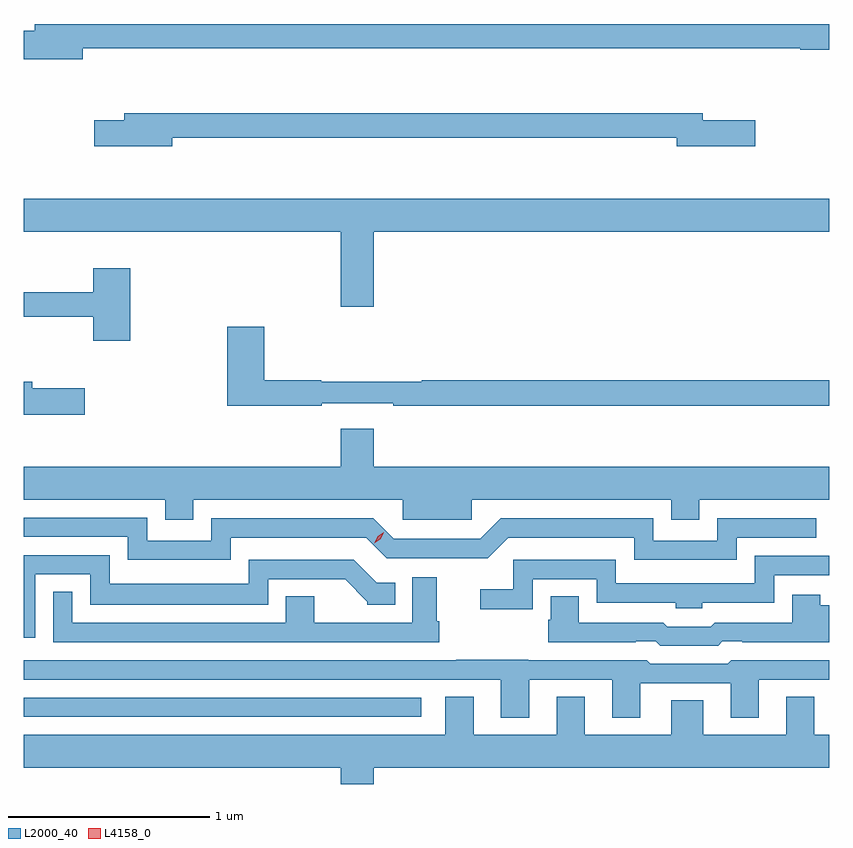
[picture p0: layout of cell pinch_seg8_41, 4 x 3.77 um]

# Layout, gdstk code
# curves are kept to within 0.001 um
import gdstk
lib = gdstk.Library(unit=1e-6, precision=1e-09)
def R(c, l, rs):  # rectangles x0, y0, x1, y1
    for r in rs: c.add(gdstk.rectangle(r[:2], r[2:], *l))
def P(c, l, *ps):  # polygons
    for p in ps: c.add(gdstk.Polygon(p, *l))
L2000_40 = (2000, 40)
L4158_0 = (4158, 0)

pinch_seg8_41 = lib.new_cell('pinch_seg8_41')
R(pinch_seg8_41, L2000_40, [(966.629,1135.401,968.602,1135.497)])
P(pinch_seg8_41, L2000_40, [(966.922,1138.722),(970.486,1138.722),(970.486,1138.714),(970.629,1138.714),(970.629,1138.843),(966.683,1138.843),(966.683,1138.809),(966.629,1138.809),(966.629,1138.667),(966.922,1138.667)],
  [(967.366,1138.278),(969.872,1138.278),(969.872,1138.235),(970.261,1138.235),(970.261,1138.365),(970,1138.365),(970,1138.399),(967.127,1138.399),(967.127,1138.365),(966.978,1138.365),(966.978,1138.235),(967.366,1138.235)],
  [(968.368,1137.812),(970.629,1137.812),(970.629,1137.976),(966.629,1137.976),(966.629,1137.812),(968.204,1137.812),(968.204,1137.438),(968.368,1137.438)],
  [(967.157,1137.631),(966.974,1137.631),(966.974,1137.511),(966.629,1137.511),(966.629,1137.39),(966.974,1137.39),(966.974,1137.27),(967.157,1137.27)],
  [(968.108,1136.958),(968.464,1136.958),(968.464,1136.946),(970.629,1136.946),(970.629,1137.074),(968.606,1137.074),(968.606,1137.067),(968.106,1137.067),(968.106,1137.074),(967.823,1137.074),(967.823,1137.34),(967.64,1137.34),(967.64,1136.946),(968.108,1136.946)],
  [(966.931,1137.033),(966.67,1137.033),(966.67,1137.067),(966.629,1137.067),(966.629,1136.903),(966.931,1136.903)],
  [(967.471,1136.48),(968.511,1136.48),(968.511,1136.381),(968.854,1136.381),(968.854,1136.48),(969.845,1136.48),(969.845,1136.381),(969.985,1136.381),(969.985,1136.48),(970.629,1136.48),(970.629,1136.644),(968.368,1136.644),(968.368,1136.833),(968.204,1136.833),(968.204,1136.644),(966.629,1136.644),(966.629,1136.48),(967.331,1136.48),(967.331,1136.381),(967.471,1136.381)],
  [(967.656,1136.292),(968.33,1136.292),(968.432,1136.19),(968.837,1136.189),(968.933,1136.189),(969.036,1136.292),(969.66,1136.292),(969.66,1136.181),(970.17,1136.181),(970.17,1136.292),(970.564,1136.292),(970.564,1136.388),(970.074,1136.388),(970.074,1136.277),(969.756,1136.277),(969.756,1136.388),(968.997,1136.388),(968.895,1136.286),(968.466,1136.286),(968.364,1136.388),(967.56,1136.388),(967.56,1136.277),(967.242,1136.277),(967.242,1136.391),(966.629,1136.391),(966.629,1136.295),(967.146,1136.295),(967.146,1136.181),(967.656,1136.181)],
  [(966.685,1136.109),(966.96,1136.109),(966.96,1135.958),(967.842,1135.958),(967.842,1136.085),(968.225,1136.084),(968.334,1135.974),(968.334,1135.958),(968.473,1135.958),(968.473,1136.067),(968.382,1136.067),(968.268,1136.181),(967.746,1136.181),(967.746,1136.062),(967.056,1136.062),(967.056,1136.205),(966.629,1136.205),(966.629,1135.794),(966.685,1135.794)],
  [(969.156,1136.085),(969.474,1136.085),(969.474,1135.968),(969.867,1135.968),(969.867,1135.941),(969.999,1135.941),(969.999,1135.968),(970.356,1135.968),(970.356,1136.106),(970.622,1136.106),(970.622,1136.105),(970.629,1136.105),(970.629,1136.202),(970.26,1136.202),(970.26,1136.064),(969.57,1136.064),(969.57,1136.181),(969.06,1136.181),(969.06,1136.035),(968.895,1136.035),(968.895,1135.936),(969.156,1135.936)],
  [(968.693,1135.876),(968.68,1135.876),(968.68,1136.095),(968.558,1136.095),(968.558,1135.869),(968.071,1135.869),(968.071,1136),(967.931,1136),(967.931,1135.869),(966.87,1135.869),(966.87,1136.024),(966.774,1136.024),(966.774,1135.773),(968.693,1135.773)],
  [(970.098,1135.776),(970.198,1135.776),(970.198,1135.773),(970.629,1135.773),(970.629,1135.957),(970.585,1135.957),(970.585,1136.008),(970.445,1136.008),(970.445,1135.869),(970.062,1135.869),(970.041,1135.848),(969.825,1135.848),(969.804,1135.869),(969.385,1135.869),(969.385,1136),(969.245,1136),(969.245,1135.884),(969.233,1135.884),(969.233,1135.773),(969.668,1135.773),(969.668,1135.776),(969.768,1135.776),(969.789,1135.755),(970.077,1135.755)],
  [(969.139,1135.587),(969.551,1135.587),(969.551,1135.397),(969.691,1135.397),(969.691,1135.569),(970.139,1135.569),(970.139,1135.397),(970.279,1135.397),(970.279,1135.587),(970.629,1135.587),(970.629,1135.683),(970.143,1135.683),(970.125,1135.665),(969.741,1135.665),(969.723,1135.683),(969.135,1135.683),(969.135,1135.686),(968.776,1135.686),(968.776,1135.683),(966.629,1135.683),(966.629,1135.587),(968.999,1135.587),(968.999,1135.397),(969.139,1135.397)],
  [(968.368,1135.148),(970.629,1135.148),(970.629,1135.312),(970.555,1135.312),(970.555,1135.502),(970.415,1135.502),(970.415,1135.312),(970.003,1135.312),(970.003,1135.484),(969.845,1135.484),(969.845,1135.312),(969.415,1135.312),(969.415,1135.502),(969.275,1135.502),(969.275,1135.312),(968.863,1135.312),(968.863,1135.502),(968.723,1135.502),(968.723,1135.312),(966.629,1135.312),(966.629,1135.148),(968.204,1135.148),(968.204,1135.068),(968.368,1135.068)])
P(pinch_seg8_41, L4158_0, [(968.37,1136.264),(968.37,1136.265),(968.386,1136.298),(968.416,1136.319),(968.417,1136.319),(968.417,1136.319),(968.401,1136.285),(968.37,1136.264)])

lib.write_gds('pinch_seg8_41.gds')
